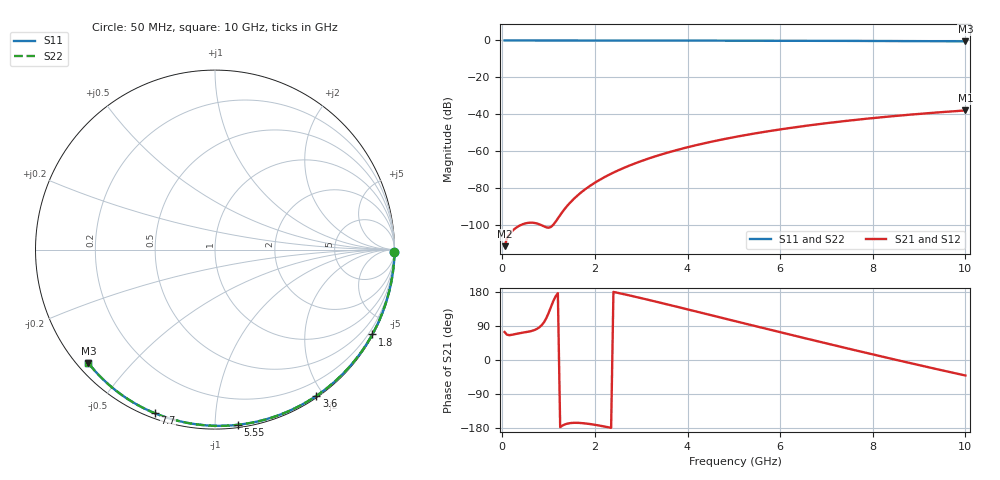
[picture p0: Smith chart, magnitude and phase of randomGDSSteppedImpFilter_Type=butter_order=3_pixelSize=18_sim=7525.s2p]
! freq	dB(S11)	phase(S11)	dB(S12)	phase(S12)
!  dB(S21)	phase(S21)	dB(S22)	phase(S22)
!S-par simulation data
#  GHz  S  DB  R 50
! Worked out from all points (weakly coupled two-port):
!   200 points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, 50 MHz to 10 GHz, reference 50 ohm
!   highest |S21| = -37.99 dB at 10 GHz (marker M1); lowest = -111.7 dB at 50 MHz (marker M2)
!   lowest |S11| = -0.5 dB at 10 GHz (marker M3), VSWR 37.05, Z = 1.55 - j19.1 ohm
!   |S11| at or under -10 dB: nowhere
!   |S22| runs from -0.5 to 0.0 dB; largest |S21 - S12| = 0
!   S11 on the Smith chart (normalised r, x): 50 MHz: open; 1.8 GHz: 0.03, -3.96; 3.6 GHz: 0.02, -1.91; 5.55 GHz: 0.02, -1.14; 7.7 GHz: 0.02, -0.70; 10 GHz: 0.03, -0.38
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0.05  -0.00 -0.8  -111.67 73.8  -111.67 73.8  -0.00 -0.8
0.45  -0.01 -7.2  -99.67 72.2  -99.67 72.2  -0.01 -7.2
0.9  -0.02 -14.3  -100.92 99.6  -100.92 99.6  -0.02 -14.3
1.75  -0.04 -27.5  -81.55 -166.8  -81.55 -166.8  -0.04 -27.5
1.8  -0.04 -28.3  -80.60 -167.5  -80.60 -167.5  -0.04 -28.3
1.85  -0.04 -29.1  -79.70 -168.2  -79.70 -168.2  -0.04 -29.1
2.05  -0.04 -32.2  -76.44 -172.0  -76.44 -172.0  -0.04 -32.2
2.25  -0.05 -35.2  -73.62 -176.6  -73.62 -176.6  -0.05 -35.2
2.55  -0.05 -39.8  -69.98 175.8  -69.98 175.8  -0.05 -39.8
2.95  -0.06 -45.8  -65.94 164.7  -65.94 164.7  -0.06 -45.8
3.4  -0.07 -52.4  -62.15 151.6  -62.15 151.6  -0.07 -52.4
3.6  -0.07 -55.3  -60.66 145.6  -60.66 145.6  -0.07 -55.3
3.9  -0.08 -59.6  -58.61 136.7  -58.61 136.7  -0.08 -59.6
4.3  -0.09 -65.3  -56.17 124.6  -56.17 124.6  -0.09 -65.3
5.05  -0.12 -75.8  -52.28 101.9  -52.28 101.9  -0.12 -75.8
5.55  -0.14 -82.5  -50.07 86.9  -50.07 86.9  -0.14 -82.5
6.1  -0.16 -89.8  -47.92 70.4  -47.92 70.4  -0.16 -89.8
6.7  -0.19 -97.6  -45.86 52.6  -45.86 52.6  -0.19 -97.6
7.7  -0.25 -110.2  -42.92 23.4  -42.92 23.4  -0.25 -110.2
8.35  -0.30 -118.2  -41.30 4.8  -41.30 4.8  -0.30 -118.2
9.2  -0.38 -128.5  -39.46 -19.1  -39.46 -19.1  -0.38 -128.5
10  -0.47 -138.1  -37.99 -40.9  -37.99 -40.9  -0.47 -138.1
